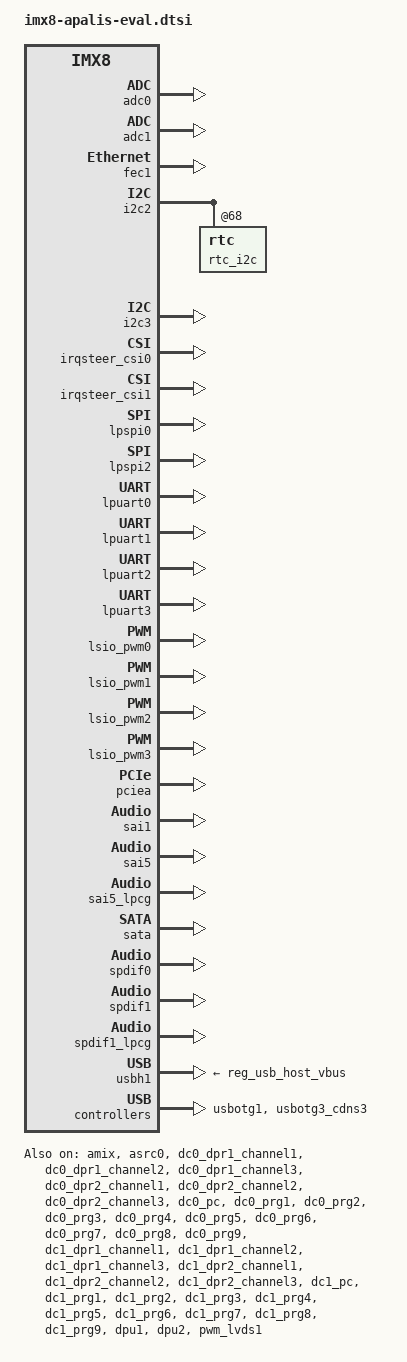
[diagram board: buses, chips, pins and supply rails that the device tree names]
// SPDX-License-Identifier: GPL-2.0-or-later OR MIT
/*
 * Copyright 2022 Toradex
 */

/ {
	aliases {
		rtc0 = &rtc_i2c;
		rtc1 = &rtc;
	};

	reg_usb_host_vbus: regulator-usb-host-vbus {
		regulator-name = "VCC USBH2(ABCD) / USBH(3|4)";
	};
};

&adc0 {
	status = "okay";
};

&adc1 {
	status = "okay";
};

&amix {
	status = "okay";
};

&asrc0 {
	status = "okay";
};

&dc0_dpr1_channel1 {
	status = "okay";
};

&dc0_dpr1_channel2 {
	status = "okay";
};

&dc0_dpr1_channel3 {
	status = "okay";
};

&dc0_dpr2_channel1 {
	status = "okay";
};

&dc0_dpr2_channel2 {
	status = "okay";
};

&dc0_dpr2_channel3 {
	status = "okay";
};

&dc0_pc {
	status = "okay";
};

&dc0_prg1 {
	status = "okay";
};

&dc0_prg2 {
	status = "okay";
};

&dc0_prg3 {
	status = "okay";
};

&dc0_prg4 {
	status = "okay";
};

&dc0_prg5 {
	status = "okay";
};

&dc0_prg6 {
	status = "okay";
};

&dc0_prg7 {
	status = "okay";
};

&dc0_prg8 {
	status = "okay";
};

&dc0_prg9 {
	status = "okay";
};

&dc1_dpr1_channel1 {
	status = "okay";
};

&dc1_dpr1_channel2 {
	status = "okay";
};

&dc1_dpr1_channel3 {
	status = "okay";
};

&dc1_dpr2_channel1 {
	status = "okay";
};

&dc1_dpr2_channel2 {
	status = "okay";
};

&dc1_dpr2_channel3 {
	status = "okay";
};

&dc1_pc {
	status = "okay";
};

&dc1_prg1 {
	status = "okay";
};

&dc1_prg2 {
	status = "okay";
};

&dc1_prg3 {
	status = "okay";
};

&dc1_prg4 {
	status = "okay";
};

&dc1_prg5 {
	status = "okay";
};

&dc1_prg6 {
	status = "okay";
};

&dc1_prg7 {
	status = "okay";
};

&dc1_prg8 {
	status = "okay";
};

&dc1_prg9 {
	status = "okay";
};

&dpu1 {
	status = "okay";
};

&dpu2 {
	status = "okay";
};

/* Apalis ETH1 */
&fec1 {
	status = "okay";
};

/* Apalis I2C1 */
&i2c2 {
	status = "okay";

	/* M41T0M6 real time clock on carrier board */
	rtc_i2c: rtc@68 {
		status = "okay";
	};
};

/* Apalis I2C3 (CAM) */
&i2c3 {
	status = "okay";
};

&irqsteer_csi0 {
	status = "okay";
};

&irqsteer_csi1 {
	status = "okay";
};

/* Apalis SPI1 */
&lpspi0 {
	status = "okay";
};

/* Apalis SPI2 */
&lpspi2 {
	status = "okay";
};

/* Apalis UART3 */
&lpuart0 {
	status = "okay";
};

/* Apalis UART1 */
&lpuart1 {
	status = "okay";
};

/* Apalis UART4 */
&lpuart2 {
	status = "okay";
};

/* Apalis UART2 */
&lpuart3 {
	status = "okay";
};

/* Apalis PWM3, MXM3 pin 6 */
&lsio_pwm0 {
	status = "okay";
};

/* Apalis PWM4, MXM3 pin 8 */
&lsio_pwm1 {
	status = "okay";
};

/* Apalis PWM1, MXM3 pin 2 */
&lsio_pwm2 {
	status = "okay";
};

/* Apalis PWM2, MXM3 pin 4 */
&lsio_pwm3 {
	status = "okay";
};

/* Apalis PCIE1 */
&pciea{
	status = "okay";
};

/* Apalis BKL1_PWM */
&pwm_lvds1 {
	pinctrl-names = "default";
	pinctrl-0 = <&pinctrl_pwm_bkl>;
	status = "okay";
};

/* Apalis DAP1 */
&sai1 {
	status = "okay";
};

&sai5 {
	status = "okay";
};

&sai5_lpcg {
	status = "okay";
};

/* Apalis SATA1 */
&sata {
	status = "okay";
};

/* Apalis SPDIF1 */
&spdif0 {
	status = "okay";
};

&spdif1 {
	status = "okay";
};

&spdif1_lpcg {
	status = "okay";
};

/* Apalis USBH2, Apalis USBH3 and on-module Wi-Fi via on-module HSIC Hub */
&usbh1 {
	vbus-supply = <&reg_usb_host_vbus>;
	status = "okay";
};

/* Apalis USBO1 */
&usbotg1 {
	status = "okay";
};

/* Apalis USBH4 SuperSpeed */
&usbotg3_cdns3 {
	status = "okay";
};
